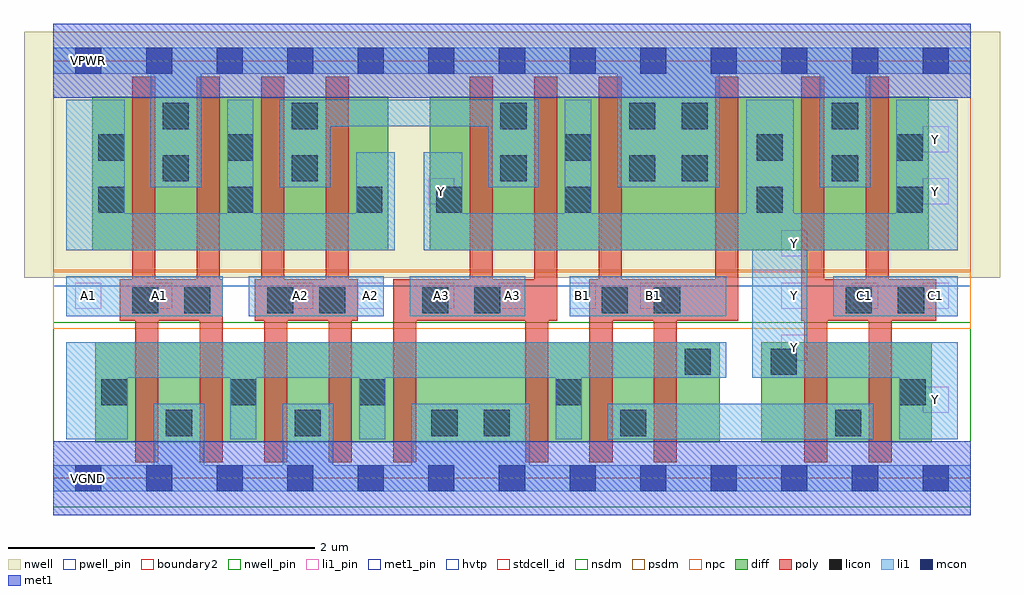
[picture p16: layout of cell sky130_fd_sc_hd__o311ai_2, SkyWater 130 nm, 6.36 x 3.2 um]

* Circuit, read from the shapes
.subckt sky130_fd_sc_hd__o311ai_2 A1 A2 A3 B1 C1 VGND VNB VPB VPWR Y
XM1 VGND A1 n1 VNB sky130_fd_pr__nfet_01v8 w=0.65 l=0.15 m=2
XM2 VGND A2 n1 VNB sky130_fd_pr__nfet_01v8 w=0.65 l=0.15 m=2
XM3 VGND A3 n1 VNB sky130_fd_pr__nfet_01v8 w=0.65 l=0.15 m=2
XM4 n2 B1 n1 VNB sky130_fd_pr__nfet_01v8 w=0.65 l=0.15 m=2
XM5 n2 C1 Y VNB sky130_fd_pr__nfet_01v8 w=0.65 l=0.15 m=2
XM6 VPWR A1 n3 VPB sky130_fd_pr__pfet_01v8_hvt w=1 l=0.15 m=2
XM7 n4 A2 n3 VPB sky130_fd_pr__pfet_01v8_hvt w=1 l=0.15 m=2
XM8 n4 A3 Y VPB sky130_fd_pr__pfet_01v8_hvt w=1 l=0.15 m=2
XM9 VPWR B1 Y VPB sky130_fd_pr__pfet_01v8_hvt w=1 l=0.15 m=2
XM10 VPWR C1 Y VPB sky130_fd_pr__pfet_01v8_hvt w=1 l=0.15 m=2
.ends

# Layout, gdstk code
import gdstk
lib = gdstk.Library(unit=1e-6, precision=1e-09)
def R(c, l, rs):  # rectangles x0, y0, x1, y1
    for r in rs: c.add(gdstk.rectangle(r[:2], r[2:], *l))
def A(c, l, x, y, w, h, nx, ny, dx, dy):  # array of equal rectangles
    R(c, l, [(x+i*dx, y+j*dy, x+i*dx+w, y+j*dy+h) for i in range(nx) for j in range(ny)])
def P(c, l, *ps):  # polygons
    for p in ps: c.add(gdstk.Polygon(p, *l))
nwell_pin = (64, 16)
nwell = (64, 20)
diff = (65, 20)
poly = (66, 20)
licon = (66, 44)
li1_pin = (67, 16)
li1 = (67, 20)
mcon = (67, 44)
met1_pin = (68, 16)
met1 = (68, 20)
hvtp = (78, 44)
stdcell_id = (81, 4)
nsdm = (93, 44)
psdm = (94, 20)
npc = (95, 20)
pwell_pin = (122, 16)
boundary2 = (236, 0)

sky130_fd_sc_hd__o311ai_ = lib.new_cell('sky130_fd_sc_hd__o311ai_2')
R(sky130_fd_sc_hd__o311ai_, nwell_pin, [(0.145,2.635,0.315,2.805)])
R(sky130_fd_sc_hd__o311ai_, nwell, [(-0.19,1.305,6.17,2.91)])
R(sky130_fd_sc_hd__o311ai_, diff, [(0.275,0.235,4.345,0.885), (4.615,0.235,5.725,0.885), (0.255,1.485,2.185,2.485), (2.455,1.485,5.705,2.485)])
P(sky130_fd_sc_hd__o311ai_, poly, [(4.895,0.105),(4.895,1.025),(4.875,1.025),(4.875,2.615),(5.025,2.615),(5.025,1.295),(5.295,1.295),(5.295,2.615),(5.445,2.615),(5.445,1.295),(5.755,1.295),(5.755,1.025),(5.465,1.025),(5.465,0.105),(5.315,0.105),(5.315,1.025),(5.045,1.025),(5.045,0.105)],
  [(1.375,0.105),(1.375,1.025),(1.315,1.025),(1.315,1.295),(1.355,1.295),(1.355,2.615),(1.505,2.615),(1.505,1.295),(1.775,1.295),(1.775,2.615),(1.925,2.615),(1.925,1.295),(1.985,1.295),(1.985,1.025),(1.945,1.025),(1.945,0.105),(1.795,0.105),(1.795,1.025),(1.525,1.025),(1.525,0.105)],
  [(0.535,0.105),(0.535,1.025),(0.435,1.025),(0.435,1.295),(0.515,1.295),(0.515,2.615),(0.665,2.615),(0.665,1.295),(0.935,1.295),(0.935,2.615),(1.085,2.615),(1.085,1.295),(1.105,1.295),(1.105,0.105),(0.955,0.105),(0.955,1.025),(0.685,1.025),(0.685,0.105)],
  [(2.215,0.105),(2.215,1.295),(2.715,1.295),(2.715,2.615),(2.865,2.615),(2.865,1.295),(3.135,1.295),(3.135,2.615),(3.285,2.615),(3.285,1.025),(3.225,1.025),(3.225,0.105),(3.075,0.105),(3.075,1.025),(2.365,1.025),(2.365,0.105)],
  [(3.495,0.105),(3.495,1.295),(3.555,1.295),(3.555,2.615),(3.705,2.615),(3.705,1.295),(4.315,1.295),(4.315,2.615),(4.465,2.615),(4.465,1.025),(4.065,1.025),(4.065,0.105),(3.915,0.105),(3.915,1.025),(3.645,1.025),(3.645,0.105)])
A(sky130_fd_sc_hd__o311ai_, licon, 0.315, 0.475, 0.17, 0.17, 3, 1, 0.84, 0)
A(sky130_fd_sc_hd__o311ai_, licon, 0.295, 1.73, 0.17, 0.17, 3, 1, 0.84, 0)
R(sky130_fd_sc_hd__o311ai_, licon, [(0.735,0.275,0.905,0.445), (1.575,0.275,1.745,0.445), (2.465,0.275,2.635,0.445), (2.805,0.275,2.975,0.445), (3.695,0.275,3.865,0.445), (5.095,0.275,5.265,0.445), (3.275,0.475,3.445,0.645), (5.515,0.475,5.685,0.645), (4.115,0.675,4.285,0.845), (4.675,0.675,4.845,0.845), (0.515,1.075,0.685,1.245), (0.855,1.075,1.025,1.245), (1.395,1.075,1.565,1.245), (1.735,1.075,1.905,1.245), (2.405,1.075,2.575,1.245), (2.745,1.075,2.915,1.245), (3.575,1.075,3.745,1.245), (3.915,1.075,4.085,1.245), (5.165,1.075,5.335,1.245), (5.505,1.075,5.675,1.245), (2.495,1.73,2.665,1.9), (3.335,1.73,3.505,1.9), (4.585,1.73,4.755,1.9), (5.495,1.73,5.665,1.9), (0.715,1.935,0.885,2.105), (1.555,1.935,1.725,2.105), (2.915,1.935,3.085,2.105), (3.755,1.935,3.925,2.105), (4.095,1.935,4.265,2.105), (5.075,1.935,5.245,2.105), (0.295,2.07,0.465,2.24), (1.135,2.07,1.305,2.24), (3.335,2.07,3.505,2.24), (4.585,2.07,4.755,2.24), (5.495,2.07,5.665,2.24), (0.715,2.275,0.885,2.445), (1.555,2.275,1.725,2.445), (2.915,2.275,3.085,2.445), (3.755,2.275,3.925,2.445), (4.095,2.275,4.265,2.445), (5.075,2.275,5.245,2.445)])
A(sky130_fd_sc_hd__o311ai_, li1_pin, 1.525, 1.105, 0.17, 0.17, 6, 1, 0.46, 0)
A(sky130_fd_sc_hd__o311ai_, li1_pin, 4.745, 1.105, 0.17, 0.17, 3, 1, 0.46, 0)
R(sky130_fd_sc_hd__o311ai_, li1_pin, [(5.665,0.425,5.835,0.595), (4.745,0.765,4.915,0.935), (0.145,1.105,0.315,1.275), (0.605,1.105,0.775,1.275), (4.745,1.445,4.915,1.615), (2.445,1.785,2.615,1.955), (5.665,1.785,5.835,1.955), (5.665,2.125,5.835,2.295)])
R(sky130_fd_sc_hd__o311ai_, li1, [(3.615,0.255,5.345,0.485), (0.085,1.055,1.105,1.315), (1.275,1.055,2.155,1.315), (2.325,1.055,3.075,1.315), (3.365,1.055,4.385,1.315), (5.085,1.055,5.895,1.315)])
P(sky130_fd_sc_hd__o311ai_, li1, [(0.085,0.255),(0.085,0.885),(4.385,0.885),(4.385,0.655),(3.445,0.655),(3.445,0.255),(3.275,0.255),(3.275,0.655),(2.165,0.655),(2.165,0.255),(1.995,0.255),(1.995,0.655),(1.325,0.655),(1.325,0.255),(1.155,0.255),(1.155,0.655),(0.485,0.655),(0.485,0.255)],
  [(5.515,0.255),(5.515,0.655),(4.555,0.655),(4.555,1.485),(2.415,1.485),(2.415,2.125),(2.665,2.125),(2.665,1.725),(3.335,1.725),(3.335,2.465),(3.505,2.465),(3.505,1.725),(4.515,1.725),(4.515,2.465),(4.825,2.465),(4.825,1.725),(5.495,1.725),(5.495,2.465),(5.895,2.465),(5.895,1.485),(4.915,1.485),(4.915,0.885),(5.895,0.885),(5.895,0.255)],
  [(1.475,1.895),(1.475,2.465),(3.165,2.465),(3.165,1.895),(2.835,1.895),(2.835,2.295),(1.805,2.295),(1.805,1.895)],
  [(0.635,1.895),(0.635,2.635),(0,2.635),(0,2.805),(5.98,2.805),(5.98,2.635),(5.325,2.635),(5.325,1.895),(4.995,1.895),(4.995,2.635),(4.345,2.635),(4.345,1.895),(3.675,1.895),(3.675,2.635),(0.965,2.635),(0.965,1.895)],
  [(0.085,1.485),(0.085,2.465),(0.465,2.465),(0.465,1.725),(1.135,1.725),(1.135,2.465),(1.305,2.465),(1.305,1.725),(1.975,1.725),(1.975,2.125),(2.225,2.125),(2.225,1.485)],
  [(0,-0.085),(0,0.085),(0.655,0.085),(0.655,0.485),(0.985,0.485),(0.985,0.085),(1.495,0.085),(1.495,0.485),(1.825,0.485),(1.825,0.085),(2.335,0.085),(2.335,0.485),(3.105,0.485),(3.105,0.085),(5.98,0.085),(5.98,-0.085)])
A(sky130_fd_sc_hd__o311ai_, mcon, 0.145, -0.085, 0.17, 0.17, 13, 2, 0.46, 2.72)
R(sky130_fd_sc_hd__o311ai_, met1_pin, [(0.145,-0.085,0.315,0.085), (0.145,2.635,0.315,2.805)])
R(sky130_fd_sc_hd__o311ai_, hvtp, [(0,1.25,5.98,2.72)])
R(sky130_fd_sc_hd__o311ai_, stdcell_id, [(0,0,5.98,2.72)])
R(sky130_fd_sc_hd__o311ai_, nsdm, [(0,-0.19,5.98,1.015)])
R(sky130_fd_sc_hd__o311ai_, psdm, [(0,1.355,5.98,2.91)])
R(sky130_fd_sc_hd__o311ai_, npc, [(0,0.975,5.98,1.345)])
R(sky130_fd_sc_hd__o311ai_, pwell_pin, [(0.145,-0.085,0.315,0.085)])
R(sky130_fd_sc_hd__o311ai_, boundary2, [(0,0,5.98,2.72)])
sky130_fd_sc_hd__o311ai_.add(gdstk.FlexPath([(0,0),(5.98,0)], 0.48, ends="flush", simple_path=True, layer=68, datatype=20))  # met1
sky130_fd_sc_hd__o311ai_.add(gdstk.FlexPath([(0,2.72),(5.98,2.72)], 0.48, ends="flush", simple_path=True, layer=68, datatype=20))  # met1
sky130_fd_sc_hd__o311ai_.add(gdstk.Label('VPWR', (0.23,2.72), layer=68, texttype=5))
sky130_fd_sc_hd__o311ai_.add(gdstk.Label('VGND', (0.23,0), layer=68, texttype=5))
sky130_fd_sc_hd__o311ai_.add(gdstk.Label('VPB', (0.23,2.72), layer=64, texttype=5))
sky130_fd_sc_hd__o311ai_.add(gdstk.Label('VNB', (0.23,0), layer=64, texttype=59))
sky130_fd_sc_hd__o311ai_.add(gdstk.Label('o311ai_2', (0,0), layer=83, texttype=44))
sky130_fd_sc_hd__o311ai_.add(gdstk.Label('A2', (1.61,1.19), layer=67, texttype=5))
sky130_fd_sc_hd__o311ai_.add(gdstk.Label('A2', (2.07,1.19), layer=67, texttype=5))
sky130_fd_sc_hd__o311ai_.add(gdstk.Label('A3', (2.53,1.19), layer=67, texttype=5))
sky130_fd_sc_hd__o311ai_.add(gdstk.Label('A3', (2.99,1.19), layer=67, texttype=5))
sky130_fd_sc_hd__o311ai_.add(gdstk.Label('B1', (3.45,1.19), layer=67, texttype=5))
sky130_fd_sc_hd__o311ai_.add(gdstk.Label('B1', (3.91,1.19), layer=67, texttype=5))
sky130_fd_sc_hd__o311ai_.add(gdstk.Label('Y', (5.75,0.51), layer=67, texttype=5))
sky130_fd_sc_hd__o311ai_.add(gdstk.Label('Y', (4.83,0.85), layer=67, texttype=5))
sky130_fd_sc_hd__o311ai_.add(gdstk.Label('Y', (4.83,1.19), layer=67, texttype=5))
sky130_fd_sc_hd__o311ai_.add(gdstk.Label('Y', (4.83,1.53), layer=67, texttype=5))
sky130_fd_sc_hd__o311ai_.add(gdstk.Label('Y', (2.53,1.87), layer=67, texttype=5))
sky130_fd_sc_hd__o311ai_.add(gdstk.Label('Y', (5.75,1.87), layer=67, texttype=5))
sky130_fd_sc_hd__o311ai_.add(gdstk.Label('Y', (5.75,2.21), layer=67, texttype=5))
sky130_fd_sc_hd__o311ai_.add(gdstk.Label('C1', (5.29,1.19), layer=67, texttype=5))
sky130_fd_sc_hd__o311ai_.add(gdstk.Label('C1', (5.75,1.19), layer=67, texttype=5))
sky130_fd_sc_hd__o311ai_.add(gdstk.Label('A1', (0.23,1.19), layer=67, texttype=5))
sky130_fd_sc_hd__o311ai_.add(gdstk.Label('A1', (0.69,1.19), layer=67, texttype=5))

lib.write_gds('sky130_fd_sc_hd__o311ai_2.gds')
